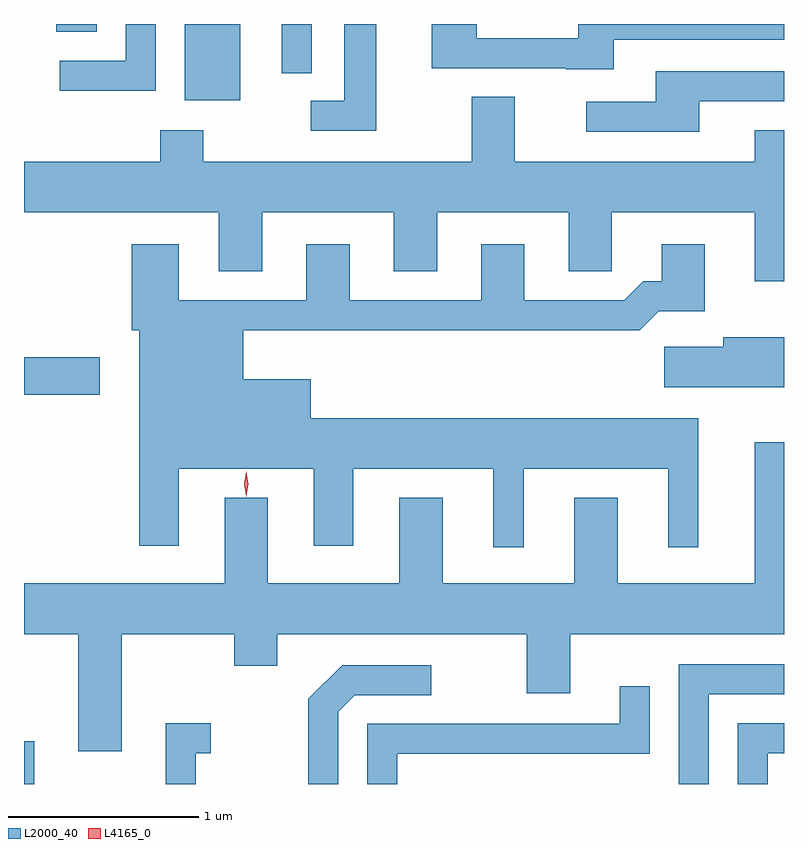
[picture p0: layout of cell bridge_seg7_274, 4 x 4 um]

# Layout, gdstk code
import gdstk
lib = gdstk.Library(unit=1e-6, precision=1e-09)
def R(c, l, rs):  # rectangles x0, y0, x1, y1
    for r in rs: c.add(gdstk.rectangle(r[:2], r[2:], *l))
def P(c, l, *ps):  # polygons
    for p in ps: c.add(gdstk.Polygon(p, *l))
L2000_40 = (2000, 40)
L4165_0 = (4165, 0)

bridge_seg7_274 = lib.new_cell('bridge_seg7_274')
R(bridge_seg7_274, L2000_40, [(1254.825,1753.488,1254.879,1753.714), (1254.825,1755.536,1255.224,1755.734), (1255.671,1757.086,1255.964,1757.488), (1256.181,1757.228,1256.339,1757.488), (1254.996,1757.446,1255.209,1757.488)])
P(bridge_seg7_274, L2000_40, [(1256.679,1757.488),(1256.511,1757.488),(1256.511,1757.084),(1256.333,1757.084),(1256.333,1756.926),(1256.679,1756.926)],
  [(1257.929,1757.406),(1258.825,1757.406),(1258.825,1757.488),(1257.741,1757.488),(1257.741,1757.414),(1257.209,1757.414),(1257.209,1757.488),(1256.971,1757.488),(1256.971,1757.256),(1257.675,1757.256),(1257.675,1757.251),(1257.929,1757.251)],
  [(1255.519,1757.488),(1255.361,1757.488),(1255.361,1757.294),(1255.013,1757.294),(1255.013,1757.136),(1255.519,1757.136)],
  [(1258.379,1757.081),(1258.825,1757.081),(1258.825,1757.239),(1258.151,1757.239),(1258.151,1757.079),(1257.783,1757.079),(1257.783,1756.921),(1258.379,1756.921)],
  [(1255.769,1756.929),(1255.541,1756.929),(1255.541,1756.764),(1254.825,1756.764),(1254.825,1756.496),(1255.851,1756.496),(1255.851,1756.186),(1256.079,1756.186),(1256.079,1756.496),(1256.771,1756.496),(1256.771,1756.186),(1256.999,1756.186),(1256.999,1756.496),(1257.691,1756.496),(1257.691,1756.186),(1257.919,1756.186),(1257.919,1756.496),(1258.671,1756.496),(1258.671,1756.133),(1258.825,1756.133),(1258.825,1756.929),(1258.671,1756.929),(1258.671,1756.764),(1257.409,1756.764),(1257.409,1757.104),(1257.181,1757.104),(1257.181,1756.764),(1255.769,1756.764)],
  [(1257.454,1755.146),(1258.216,1755.146),(1258.216,1754.733),(1258.374,1754.733),(1258.374,1755.414),(1256.334,1755.414),(1256.334,1755.619),(1255.979,1755.619),(1255.979,1755.876),(1258.067,1755.876),(1258.167,1755.976),(1258.409,1755.976),(1258.409,1756.329),(1258.181,1756.329),(1258.181,1756.134),(1258.084,1756.134),(1257.984,1756.034),(1257.459,1756.034),(1257.459,1756.329),(1257.231,1756.329),(1257.231,1756.034),(1256.539,1756.034),(1256.539,1756.329),(1256.311,1756.329),(1256.311,1756.034),(1255.639,1756.034),(1255.639,1756.329),(1255.391,1756.329),(1255.391,1755.876),(1255.431,1755.876),(1255.431,1754.741),(1255.639,1754.741),(1255.639,1755.146),(1256.351,1755.146),(1256.351,1754.741),(1256.559,1754.741),(1256.559,1755.146),(1257.296,1755.146),(1257.296,1754.733),(1257.454,1754.733)],
  [(1258.825,1755.839),(1258.506,1755.839),(1258.506,1755.789),(1258.196,1755.789),(1258.196,1755.576),(1258.825,1755.576)],
  [(1255.339,1754.276),(1255.931,1754.276),(1255.931,1754.111),(1256.159,1754.111),(1256.159,1754.276),(1257.471,1754.276),(1257.471,1753.966),(1257.699,1753.966),(1257.699,1754.276),(1258.825,1754.276),(1258.825,1755.288),(1258.671,1755.288),(1258.671,1754.544),(1257.949,1754.544),(1257.949,1754.994),(1257.721,1754.994),(1257.721,1754.544),(1257.029,1754.544),(1257.029,1754.994),(1256.801,1754.994),(1256.801,1754.544),(1256.109,1754.544),(1256.109,1754.994),(1255.881,1754.994),(1255.881,1754.544),(1254.825,1754.544),(1254.825,1754.276),(1255.111,1754.276),(1255.111,1753.661),(1255.339,1753.661)],
  [(1258.429,1753.961),(1258.825,1753.961),(1258.825,1754.119),(1258.271,1754.119),(1258.271,1753.488),(1258.429,1753.488)],
  [(1256.479,1753.869),(1256.567,1753.956),(1256.968,1753.956),(1256.968,1754.114),(1256.499,1754.114),(1256.321,1753.937),(1256.321,1753.488),(1256.479,1753.488)],
  [(1256.789,1753.646),(1258.119,1753.646),(1258.119,1754.003),(1257.961,1754.003),(1257.961,1753.804),(1256.631,1753.804),(1256.631,1753.488),(1256.789,1753.488)],
  [(1255.729,1753.651),(1255.808,1753.651),(1255.808,1753.809),(1255.571,1753.809),(1255.571,1753.488),(1255.729,1753.488)],
  [(1258.739,1753.651),(1258.825,1753.651),(1258.825,1753.809),(1258.581,1753.809),(1258.581,1753.488),(1258.739,1753.488)])
P(bridge_seg7_274, L4165_0, [(1255.995,1755.001),(1255.994,1755.002),(1255.985,1755.066),(1255.994,1755.131),(1255.994,1755.132),(1255.995,1755.131),(1256.005,1755.067),(1255.995,1755.002)])

lib.write_gds('bridge_seg7_274.gds')
